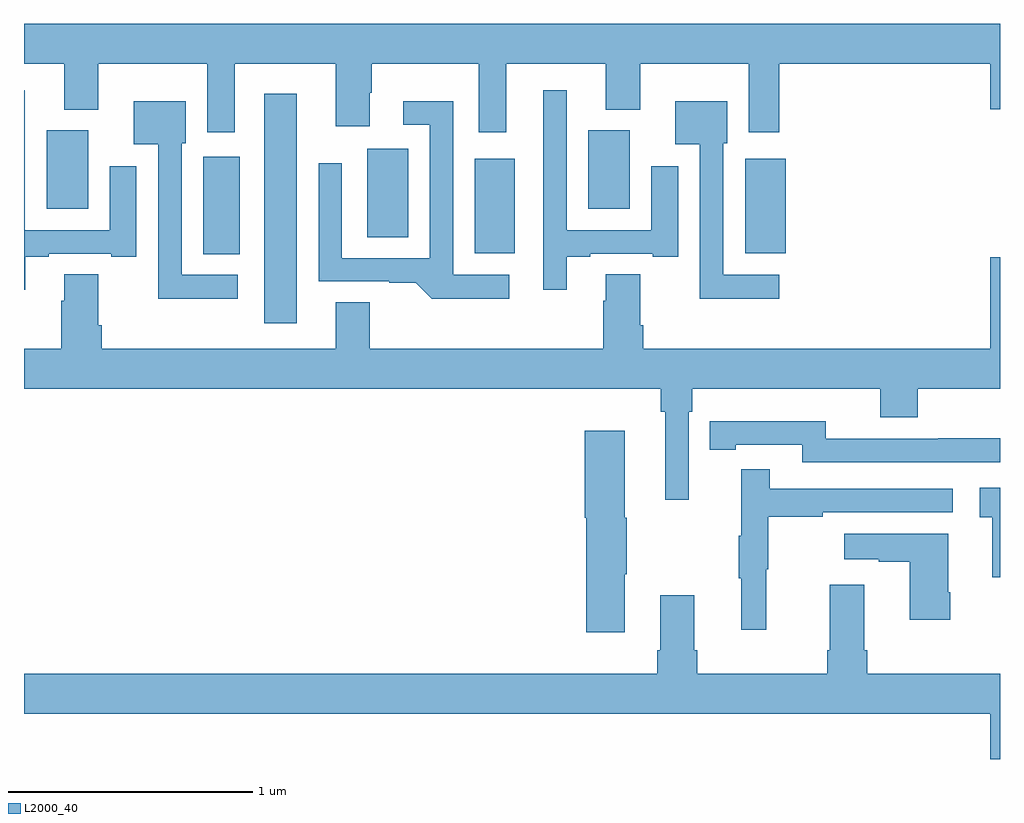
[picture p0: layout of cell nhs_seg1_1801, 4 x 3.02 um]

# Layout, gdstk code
import gdstk
lib = gdstk.Library(unit=1e-6, precision=1e-09)
def R(c, l, rs):  # rectangles x0, y0, x1, y1
    for r in rs: c.add(gdstk.rectangle(r[:2], r[2:], *l))
def P(c, l, *ps):  # polygons
    for p in ps: c.add(gdstk.Polygon(p, *l))
L2000_40 = (2000, 40)

nhs_seg1_1801 = lib.new_cell('nhs_seg1_1801')
R(nhs_seg1_1801, L2000_40, [(209.984,552,210.118,552.94), (209.735,552.283,209.884,552.682), (210.848,552.287,211.012,552.673), (211.955,552.287,212.122,552.673), (210.407,552.352,210.574,552.715), (209.093,552.47,209.263,552.79), (211.313,552.47,211.483,552.79)])
P(nhs_seg1_1801, L2000_40, [(209.863,553.064),(210.278,553.064),(210.278,552.807),(210.418,552.807),(210.418,552.944),(210.426,552.944),(210.426,553.064),(210.863,553.064),(210.863,552.783),(210.976,552.783),(210.976,553.064),(211.385,553.064),(211.385,552.875),(211.525,552.875),(211.525,553.064),(211.97,553.064),(211.97,552.783),(212.096,552.783),(212.096,553.064),(212.96,553.064),(212.96,552.876),(213,552.876),(213,553.228),(209,553.228),(209,553.064),(209.165,553.064),(209.165,552.875),(209.305,552.875),(209.305,553.064),(209.75,553.064),(209.75,552.783),(209.863,552.783)],
  [(209.005,552.273),(209.101,552.273),(209.101,552.285),(209.357,552.285),(209.357,552.273),(209.461,552.273),(209.461,552.643),(209.351,552.643),(209.351,552.381),(209.004,552.381),(209.004,552.955),(209,552.955),(209,552.138),(209.005,552.138)],
  [(211.225,552.273),(211.321,552.273),(211.321,552.285),(211.577,552.285),(211.577,552.273),(211.681,552.273),(211.681,552.643),(211.571,552.643),(211.571,552.381),(211.224,552.381),(211.224,552.955),(211.128,552.955),(211.128,552.138),(211.225,552.138)],
  [(209.875,552.198),(209.646,552.198),(209.646,552.738),(209.662,552.738),(209.662,552.91),(209.45,552.91),(209.45,552.734),(209.55,552.734),(209.55,552.101),(209.875,552.101)],
  [(210.988,552.198),(210.759,552.198),(210.759,552.91),(210.555,552.91),(210.555,552.813),(210.663,552.813),(210.663,552.267),(210.303,552.267),(210.303,552.655),(210.207,552.655),(210.207,552.171),(210.497,552.171),(210.497,552.166),(210.605,552.166),(210.671,552.101),(210.988,552.101)],
  [(212.095,552.198),(211.866,552.198),(211.866,552.738),(211.882,552.738),(211.882,552.91),(211.67,552.91),(211.67,552.734),(211.77,552.734),(211.77,552.101),(212.095,552.101)],
  [(211.725,551.636),(211.739,551.636),(211.739,551.732),(212.51,551.732),(212.51,551.615),(212.663,551.615),(212.663,551.732),(213,551.732),(213,552.271),(212.96,552.271),(212.96,551.896),(211.538,551.896),(211.538,551.992),(211.525,551.992),(211.525,552.2),(211.385,552.2),(211.385,552.092),(211.373,552.092),(211.373,551.896),(210.418,551.896),(210.418,552.086),(210.278,552.086),(210.278,551.896),(209.318,551.896),(209.318,551.992),(209.305,551.992),(209.305,552.2),(209.165,552.2),(209.165,552.092),(209.153,552.092),(209.153,551.896),(209,551.896),(209,551.732),(211.609,551.732),(211.609,551.636),(211.628,551.636),(211.628,551.277),(211.725,551.277)],
  [(213,551.528),(212.746,551.528),(212.746,551.526),(212.286,551.526),(212.286,551.599),(211.918,551.599),(211.918,551.598),(211.81,551.598),(211.81,551.482),(211.918,551.482),(211.918,551.502),(212.19,551.502),(212.19,551.43),(213,551.43)],
  [(211.462,550.972),(211.47,550.972),(211.47,551.202),(211.462,551.202),(211.462,551.56),(211.298,551.56),(211.298,551.202),(211.304,551.202),(211.304,550.734),(211.462,550.734)],
  [(212.042,550.992),(212.05,550.992),(212.05,551.206),(212.273,551.206),(212.273,551.226),(212.806,551.226),(212.806,551.322),(212.057,551.322),(212.057,551.401),(211.94,551.401),(211.94,551.129),(211.929,551.129),(211.929,550.955),(211.94,550.955),(211.94,550.743),(212.042,550.743)],
  [(213,551.326),(212.916,551.326),(212.916,551.205),(212.969,551.205),(212.969,550.959),(213,550.959)],
  [(212.796,550.897),(212.788,550.897),(212.788,551.137),(212.361,551.137),(212.361,551.033),(212.504,551.033),(212.504,551.023),(212.63,551.023),(212.63,550.785),(212.796,550.785)],
  [(213,550.564),(212.456,550.564),(212.456,550.66),(212.443,550.66),(212.443,550.927),(212.303,550.927),(212.303,550.66),(212.291,550.66),(212.291,550.564),(211.76,550.564),(211.76,550.66),(211.747,550.66),(211.747,550.885),(211.607,550.885),(211.607,550.66),(211.595,550.66),(211.595,550.564),(209,550.564),(209,550.4),(212.96,550.4),(212.96,550.212),(213,550.212)])

lib.write_gds('nhs_seg1_1801.gds')
